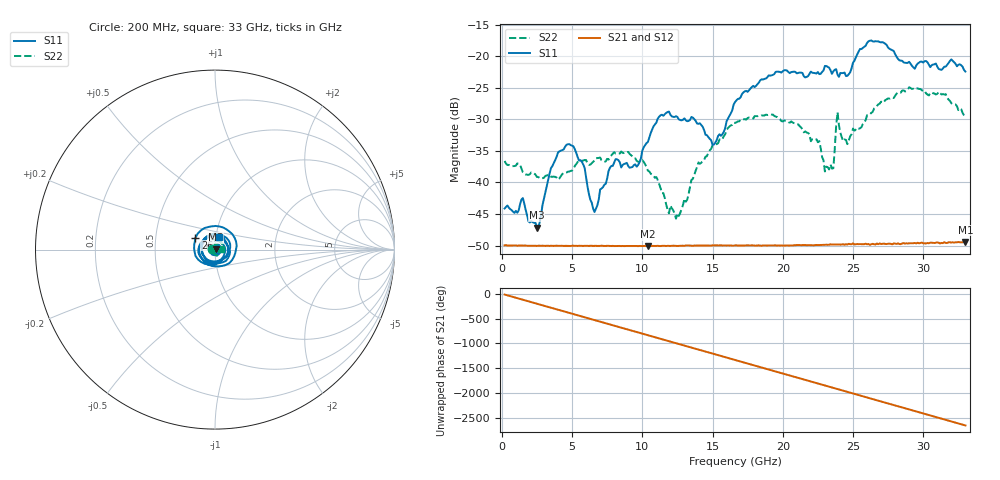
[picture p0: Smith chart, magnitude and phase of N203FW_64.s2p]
# GHZ S RI R 50
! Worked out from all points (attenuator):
!   329 points, 200 MHz to 33 GHz, reference 50 ohm
!   highest |S21| = -49.41 dB at 33 GHz (marker M1); lowest = -50.1 dB at 10.4 GHz (marker M2)
!   lowest |S11| = -47.2 dB at 2.5 GHz (marker M3), VSWR 1.01, Z = 50.4 + j0.193 ohm
!   |S11| at or under -10 dB: start of sweep to end of sweep
!   |S22| runs from -45.7 to -24.9 dB; largest |S21 - S12| = 8.8e-05
!   S11 on the Smith chart (normalised r, x): 200 MHz: 1.01, +0.00; 26 GHz: 0.80, +0.11; 33 GHz: 1.03, +0.15
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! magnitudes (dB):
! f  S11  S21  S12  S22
! 200 MHz  -44.1  -50.0  -49.9  -36.6
! 1.5 GHz  -42.5  -50.0  -50.0  -38.4
! 2.5 GHz  -47.2  -50.1  -50.0  -39.1
! 4 GHz  -35.3  -50.0  -50.0  -39.5
! 5.7 GHz  -36.7  -50.0  -50.0  -36.6
! 6.6 GHz  -44.7  -50.0  -50.0  -36.5
! 8.1 GHz  -36.3  -50.1  -50.1  -35.4
! 9.6 GHz  -37.5  -50.1  -50.1  -36.6
! 10.4 GHz  -33.6  -50.1  -50.1  -38.1
! 11.2 GHz  -29.6  -50.1  -50.0  -40.3
! 12.4 GHz  -29.5  -50.0  -50.0  -45.7
! 15.1 GHz  -34.0  -50.0  -50.0  -34.1
! 16.6 GHz  -27.3  -50.0  -50.0  -30.6
! 19.3 GHz  -22.9  -50.0  -50.0  -29.2
! 22.1 GHz  -22.6  -49.9  -49.9  -33.1
! 23.6 GHz  -22.4  -49.8  -49.8  -37.7
! 23.9 GHz  -22.9  -49.8  -49.8  -28.9
! 24.6 GHz  -23.1  -49.8  -49.8  -33.9
! 26 GHz  -17.9  -49.8  -49.7  -29.3
! 27.6 GHz  -18.8  -49.7  -49.7  -26.7
! 31.1 GHz  -22.0  -49.5  -49.4  -25.6
! 33 GHz  -22.4  -49.4  -49.4  -29.6
